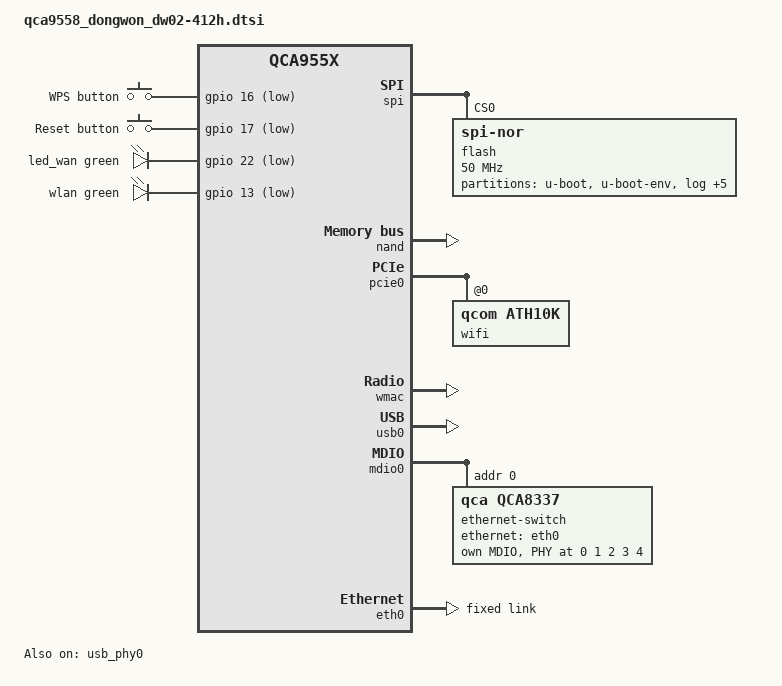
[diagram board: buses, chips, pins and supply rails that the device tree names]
// SPDX-License-Identifier: GPL-2.0-or-later OR MIT
// Converted from SWCONFIG to DSA by Abdulkader Alrezej


#include "qca955x.dtsi"

#include <dt-bindings/gpio/gpio.h>
#include <dt-bindings/input/input.h>
#include <dt-bindings/leds/common.h>

/ {
	aliases {
		led-boot = &led_wan;
		led-failsafe = &led_wan;
		led-upgrade = &led_wan;
	};

	keys {
		compatible = "gpio-keys";

		wps {
			label = "WPS button";
			gpios = <&gpio 16 GPIO_ACTIVE_LOW>;
			linux,code = <KEY_WPS_BUTTON>;
		};

		reset {
			label = "Reset button";
			gpios = <&gpio 17 GPIO_ACTIVE_LOW>;
			linux,code = <KEY_RESTART>;
		};
	};

	leds {
		compatible = "gpio-leds";

		led_wan: wan {
			function = LED_FUNCTION_WAN;
			color = <LED_COLOR_ID_GREEN>;
			gpios = <&gpio 22 GPIO_ACTIVE_LOW>;
		};

		wlan {
			function = LED_FUNCTION_WLAN;
			color = <LED_COLOR_ID_GREEN>;
			gpios = <&gpio 13 GPIO_ACTIVE_LOW>;
			linux,default-trigger = "phy1tpt"
		};
	};
};

&spi {
	status = "okay";

	flash@0 {
		compatible = "jedec,spi-nor";
		reg = <0>;
		spi-max-frequency = <50000000>;

		partitions {
			compatible = "fixed-partitions";
			#address-cells = <1>;
			#size-cells = <1>;

			partition@0 {
				label = "u-boot";
				reg = <0x000000 0x040000>;
				read-only;
			};

			partition@40000 {
				label = "u-boot-env";
				reg = <0x040000 0x010000>;
			};

			partition@50000 {
				label = "log";
				reg = <0x050000 0x010000>;
				read-only;
			};

			partition@60000 {
				label = "recoverk";
				reg = <0x060000 0x0e0000>;
				read-only;
			};

			partition@140000 {
				label = "recoverr";
				reg = <0x140000 0x090000>;
				read-only;
			};

			partition@1d0000 {
				label = "nvram";
				reg = <0x1d0000 0x010000>;
				read-only;
			};

			partition@1e0000 {
				label = "nvbackup";
				reg = <0x1e0000 0x010000>;
				read-only;
			};

			partition@1f0000 {
				label = "art";
				reg = <0x1f0000 0x010000>;
				read-only;

				nvmem-layout {
					compatible = "fixed-layout";
					#address-cells = <1>;
					#size-cells = <1>;

					macaddr_art_0: macaddr@0 {
						compatible = "mac-base";
						reg = <0x0 0x6>;
						#nvmem-cell-cells = <1>;
					};

					cal_art_1000: cal@1000 {
						reg = <0x1000 0x440>;
					};

					cal_art_5000: cal@5000 {
						reg = <0x5000 0x844>;
					};
				};
			};
		};
	};
};

&nand {
	status = "okay";

	partitions {
		compatible = "fixed-partitions";
		#address-cells = <1>;
		#size-cells = <1>;

		partition@0 {
			label = "current";
			reg = <0x0 0x1000000>;
			read-only;
		};

		partition@1000000 {
			label = "kernel";
			reg = <0x1000000 0x800000>;
		};

		ubi: partition@1800000 {
			label = "ubi";
		};
	};
};

&pcie0 {
	status = "okay";

	wifi@0,0 {
		compatible = "qcom,ath10k";
		reg = <0 0 0 0 0>;

		nvmem-cells = <&macaddr_art_0 4>, <&cal_art_5000>;
		nvmem-cell-names = "mac-address", "calibration";
	};
};

&wmac {
	status = "okay";

	nvmem-cells = <&macaddr_art_0 3>, <&cal_art_1000>;
	nvmem-cell-names = "mac-address", "calibration";
};

&usb_phy0 {
	status = "okay";
};

&usb0 {
	status = "okay";
};

&mdio0 {
	status = "okay";

	ethernet-switch@0 {
		compatible = "qca,qca8337";
		#address-cells = <1>;
		#size-cells = <0>;

		reg = <0>;

		ethernet-ports {
			#address-cells = <1>;
			#size-cells = <0>;

			ethernet-port@0 {
				reg = <0>;
				label = "cpu0";
				ethernet = <&eth0>;
				phy-mode = "rgmii-id";
				fixed-link {
					speed = <1000>;
					full-duplex;
				};
			};

			ethernet-port@1 {
				reg = <1>;
				label = "wan";
				phy-mode = "internal";
				phy-handle = <&phy_port1>;
			};

			ethernet-port@2 {
				reg = <2>;
				label = "lan4";
				phy-mode = "internal";
				phy-handle = <&phy_port2>;
			};

			ethernet-port@3 {
				reg = <3>;
				label = "lan3";
				phy-mode = "internal";
				phy-handle = <&phy_port3>;
			};

			ethernet-port@4 {
				reg = <4>;
				label = "lan2";
				phy-mode = "internal";
				phy-handle = <&phy_port4>;
			};

			ethernet-port@5 {
				reg = <5>;
				label = "lan1";
				phy-mode = "internal";
				phy-handle = <&phy_port5>;
			};

		};

		mdio {
			#address-cells = <1>;
			#size-cells = <0>;

			phy_port1: phy@0 {
				reg = <0>;
			};

			phy_port2: phy@1 {
				reg = <1>;
			};

			phy_port3: phy@2 {
				reg = <2>;
			};

			phy_port4: phy@3 {
				reg = <3>;
			};

			phy_port5: phy@4 {
				reg = <4>;
			};
		};
	};
};

&eth0 {

	status = "okay";
	
	pll-data = <0xa6000000 0x00000101 0x00001616>;
	
	nvmem-cells = <&macaddr_art_0 0>;
	nvmem-cell-names = "mac-address";
	
	fixed-link {
		speed = <1000>;
		full-duplex;
	};

	gmac-config {
		device = <&gmac>;
		rgmii-enabled = <1>;

		rxdv-delay = <3>;
		rxd-delay = <3>;
		txen-delay = <3>;
		txd-delay = <3>;
		
	};
};
